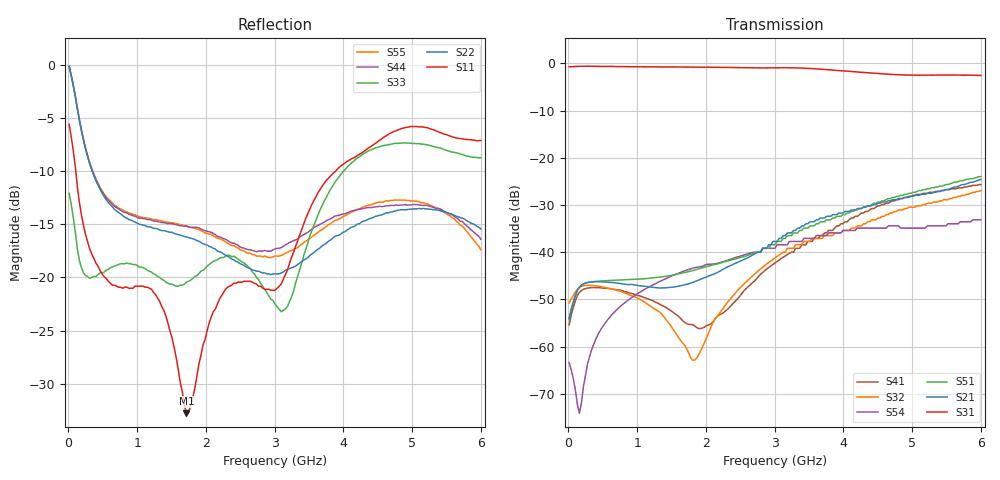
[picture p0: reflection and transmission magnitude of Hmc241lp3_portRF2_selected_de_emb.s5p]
! Hittite Microwave Corporation
! 20 Alpha Road
! Chelmsford, MA 01824
! Tel: 978-250-3343
! Fax: 978-250-3373
! Device: HMC241LP3, DC-4 GHz, High Isolation SP4T Non-Reflective Switch in leadless QFN SMT package
! Misc: Port 1 = RFCom
!  Port 2 = RF1
!  Port 3 = RF2
!  Port 4 = RF3
!  Port 5 = RF4
!  Vdd  = + 5 V
!  RF2 selected, Vctl= 0/+5 V
!  Data reformated to new Touchstone file format - Tue Jan 09 08:08:41 2007
# MHz S DB R 50
! 5 Port Network Data
! freq  dbS11  angS11  dbS12  angS12  dbS13  angS13  dbS14  angS14
!  dbS15  angS15
!  dbS21  angS21  dbS22  angS22  dbS23  angS23
!  dbS24  angS24  dbS25  angS25
!  dbS31  angS31  dbS32  angS32
!  dbS33  angS33  dbS34  angS34  dbS35  angS35
!  dbS41  angS41
!  dbS42  angS42  dbS43  angS43  dbS44  angS44  dbS45  angS45
!  dbS51  angS51  dbS52  angS52  dbS53  angS53  dbS54  angS54
!  dbS55  angS55
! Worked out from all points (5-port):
!   201 points, 10 MHz to 6 GHz, reference 50 ohm
!   strongest paths, dB at 10 MHz, 1.508 GHz, 3.005 GHz, 4.503 GHz, 6 GHz:
!     S31: -0.8, -0.8, -1.0, -2.2, -2.6
!     S21: -54.0, -47.4, -37.7, -29.6, -24.6
!     S51: -54.3, -44.9, -38.4, -29.4, -24.0
!     S54: -63.4, -45.0, -39.2, -34.9, -33.2
!     S32: -50.8, -56.0, -41.2, -32.8, -26.9
!     S41: -55.4, -52.6, -42.3, -30.2, -25.7
!   lowest |S11| = -32.8 dB at 1.717 GHz (marker M1), VSWR 1.05, Z = 50.9 - j2.14 ohm
!   |S11| at or under -10 dB: 106.5 MHz to 3.887 GHz (3.781 GHz wide, 189 % of centre)
